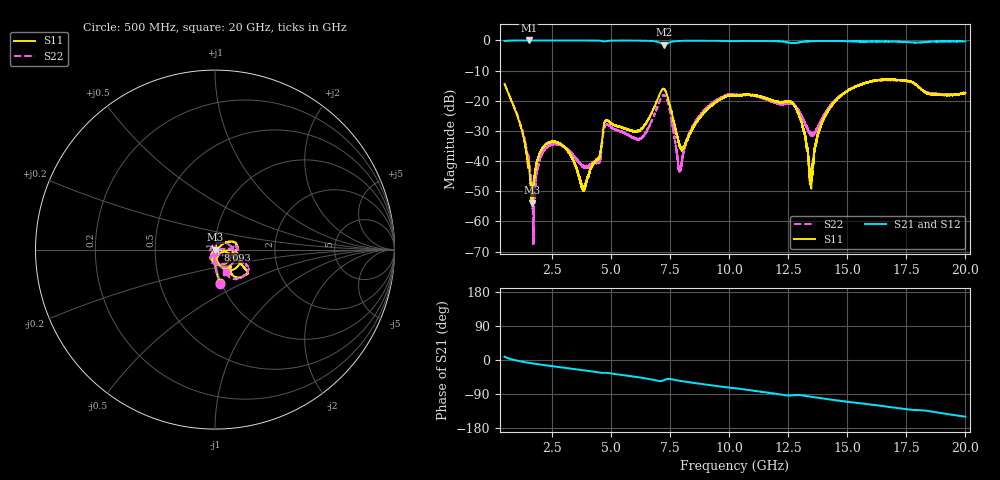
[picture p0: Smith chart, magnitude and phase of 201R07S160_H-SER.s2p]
!{201R07S160}
!Johanson Technology Inc.
!www.johansontechnology.com
!Test Board Conditions:
!Substrate Type  RO4350B
!Substrate Thickness  10 mil
!Substrate Dk  3.66
!TL Type: GCPW
!TL Trace Width  21 mil
!TL Gap  20 mil
!Electrode orientation  Horizontal
!DUT TOPOLOGY	SERIES
!Mounting Pad LxW  16x21 mil
!Agilent Technologies,N5230A,MY45001966,A.07.50.67
!Agilent N5230A: A.07.50.67
! Created Mon Mar  9 15:52:35 2020
# mhz S ma R 50
! 2 Port Network Data from SP1.SP block
! freq  magS11  angS11  magS21  angS21  magS12  angS12  magS22  angS22
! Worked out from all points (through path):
!   19501 points, 500 MHz to 20 GHz, reference 50 ohm
!   highest |S21| = -0.01 dB at 1.526 GHz (marker M1); lowest = -1.4 dB at 7.262 GHz (marker M2)
!   group delay of S21, straight-line fit = 21 ps
!   lowest |S11| = -53.8 dB at 1.66 GHz (marker M3), VSWR 1.00, Z = 50.2 - j0.0523 ohm
!   |S11| at or under -10 dB: start of sweep to end of sweep
!   |S22| runs from -68.2 to -13.1 dB; largest |S21 - S12| = 0.015
!   S11 on the Smith chart (normalised r, x): 500 MHz: 0.98, -0.38; 8.093 GHz: 1.04, +0.00; 20 GHz: 1.11, -0.27
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500  0.1897 -81.4  0.9799 8.6  0.9812 8.6  0.1915 -81.4
1526  0.008603 -83.1  0.9992 -7.4  0.9973 -7.4  0.0111 -103.2
1660  0.002051 -14.7  0.9985 -8.7  0.9988 -8.7  0.0029 -118.5
1761  0.005497 55.4  0.9988 -9.6  0.9979 -9.7  0.002391 97.6
2014  0.0141 70.2  0.9981 -11.9  0.9984 -12.0  0.01137 77.2
2540  0.02079 73.9  0.9983 -16.5  0.998 -16.5  0.01899 65.3
3750  0.003908 131.1  0.9969 -26.4  0.9977 -26.4  0.008569 -9.6
4480  0.01106 -86.6  0.9911 -32.7  0.9916 -32.7  0.00958 -75.2
4791  0.04738 -86.2  0.9729 -33.8  0.9725 -33.7  0.03974 -93.6
6211  0.03189 -45.1  0.9915 -46.0  0.992 -46.0  0.02356 129.9
7000  0.1115 -5.2  0.9409 -54.9  0.9416 -54.9  0.08478 17.1
7262  0.154 -42.9  0.8555 -52.5  0.8565 -52.5  0.1225 -43.5
7883  0.01936 -54.8  0.9803 -54.7  0.9812 -54.7  0.007053 -69.2
8093  0.01744 1.5  0.9862 -56.8  0.9871 -56.8  0.01558 4.8
8892  0.06016 35.6  0.9897 -63.8  0.9898 -63.7  0.06486 3.3
10250  0.1219 12.5  0.973 -74.4  0.9721 -74.4  0.1265 0.5
12665  0.09289 -67.0  0.9034 -93.4  0.9059 -93.4  0.09024 -67.1
13500  0.008297 -32.4  0.9775 -97.3  0.9708 -97.3  0.02694 -89.4
13825  0.03261 -6.5  0.975 -100.5  0.9808 -100.3  0.04204 -47.3
14454  0.09453 -18.3  0.9772 -105.7  0.9808 -105.9  0.1006 -24.7
16750  0.2248 -36.4  0.9629 -123.4  0.9547 -123.7  0.2213 -35.3
20000  0.1347 -61.2  0.9682 -149.6  0.9651 -149.4  0.1388 -64.6
